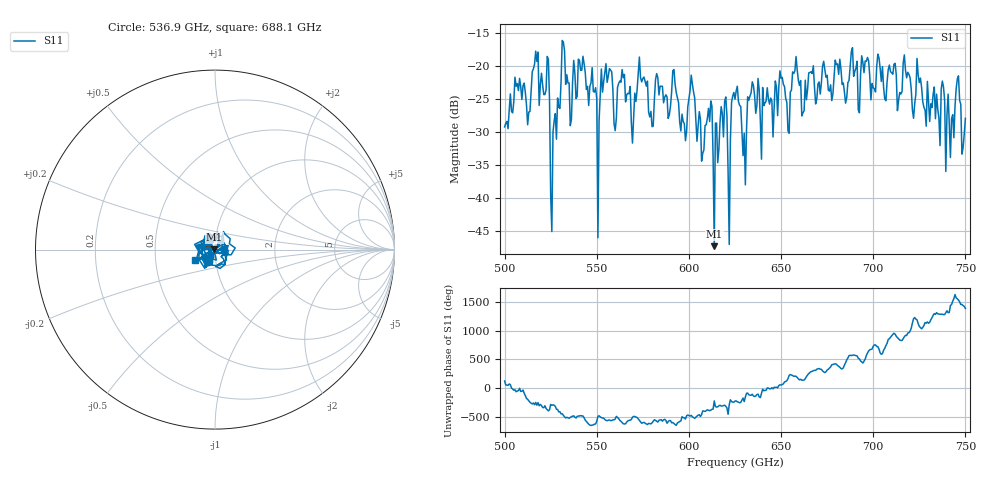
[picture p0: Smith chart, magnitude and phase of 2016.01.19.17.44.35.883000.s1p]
!Created with skrf (http://scikit-rf.org).
# GHz S RI R 50.0
!freq ReS11 ImS11
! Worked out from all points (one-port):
!   401 points, 500 GHz to 750 GHz, reference 50 ohm
!   lowest |S11| = -47.3 dB at 613.8 GHz (marker M1), VSWR 1.01, Z = 49.7 + j0.265 ohm
!   |S11| at or under -10 dB: start of sweep to end of sweep
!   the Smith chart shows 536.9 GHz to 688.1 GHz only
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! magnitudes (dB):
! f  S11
! 500 GHz  -29.2
! 506.9 GHz  -22.6
! 513.1 GHz  -27.0
! 516.9 GHz  -17.7
! 523.1 GHz  -18.5
! 526.2 GHz  -30.0
! 531.2 GHz  -16.1
! 548.1 GHz  -23.8
! 550.6 GHz  -46.0
! 553.8 GHz  -22.4
! 562.5 GHz  -22.3
! 593.8 GHz  -24.8
! 597.5 GHz  -28.7
! 601.9 GHz  -22.7
! 608.1 GHz  -32.7
! 611.2 GHz  -28.4
! 613.8 GHz  -47.3
! 618.8 GHz  -30.7
! 621.9 GHz  -47.0
! 625 GHz  -25.0
! 630 GHz  -30.2
! 633.8 GHz  -24.0
! 656.2 GHz  -20.9
! 687.5 GHz  -20.1
! 718.8 GHz  -20.9
! 740.6 GHz  -24.2
! 746.2 GHz  -21.5
! 750 GHz  -27.9
